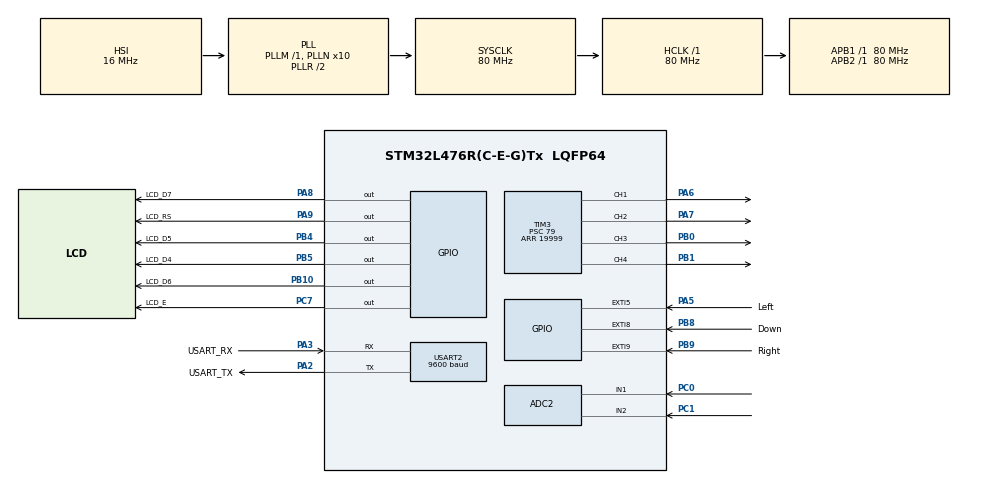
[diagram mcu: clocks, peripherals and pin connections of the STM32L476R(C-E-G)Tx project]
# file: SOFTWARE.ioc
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ADC2.Channel-2\#ChannelRegularConversion=ADC_CHANNEL_1
ADC2.Channel-3\#ChannelRegularConversion=ADC_CHANNEL_2
ADC2.DMAContinuousRequests=ENABLE
ADC2.EOCSelection=ADC_EOC_SEQ_CONV
ADC2.NbrOfConversion=2
ADC2.NbrOfConversionFlag=1
ADC2.OffsetNumber-2\#ChannelRegularConversion=ADC_OFFSET_NONE
ADC2.OffsetNumber-3\#ChannelRegularConversion=ADC_OFFSET_NONE
ADC2.Rank-2\#ChannelRegularConversion=1
ADC2.Rank-3\#ChannelRegularConversion=2
ADC2.SamplingTime-2\#ChannelRegularConversion=ADC_SAMPLETIME_2CYCLES_5
ADC2.SamplingTime-3\#ChannelRegularConversion=ADC_SAMPLETIME_2CYCLES_5
ARM.CMSIS.5.7.0.CMSISJjCORE=true
ARM.CMSIS.5.7.0.CMSISJjDSP=Library
Dma.ADC2.0.Direction=DMA_PERIPH_TO_MEMORY
Dma.ADC2.0.Instance=DMA1_Channel2
Dma.ADC2.0.MemDataAlignment=DMA_MDATAALIGN_HALFWORD
Dma.ADC2.0.MemInc=DMA_MINC_ENABLE
Dma.ADC2.0.Mode=DMA_CIRCULAR
Dma.ADC2.0.PeriphDataAlignment=DMA_PDATAALIGN_HALFWORD
Dma.ADC2.0.PeriphInc=DMA_PINC_DISABLE
Dma.ADC2.0.Priority=DMA_PRIORITY_LOW
Dma.Request0=ADC2
Mcu.Family=STM32L4
Mcu.Name=STM32L476R(C-E-G)Tx
Mcu.Package=LQFP64
NVIC.DMA1_Channel2_IRQn=true\:0\:0\:false\:false\:true\:false\:true
NVIC.EXTI9_5_IRQn=true\:0\:0\:false\:false\:true\:true\:true
NVIC.PriorityGroup=NVIC_PRIORITYGROUP_4
NVIC.TIM2_IRQn=true\:0\:0\:false\:false\:true\:true\:true
NVIC.USART2_IRQn=true\:0\:0\:false\:false\:true\:true\:true
PA13\ (JTMS-SWDIO).GPIO_Label=TMS
PA13\ (JTMS-SWDIO).Mode=Serial_Wire
PA13\ (JTMS-SWDIO).Signal=SYS_JTMS-SWDIO
PA14\ (JTCK-SWCLK).GPIO_Label=TCK
PA14\ (JTCK-SWCLK).Mode=Serial_Wire
PA14\ (JTCK-SWCLK).Signal=SYS_JTCK-SWCLK
PA2.GPIO_Label=USART_TX
PA2.GPIO_Mode=GPIO_MODE_AF_PP
PA2.GPIO_PuPd=GPIO_NOPULL
PA2.GPIO_Speed=GPIO_SPEED_FREQ_VERY_HIGH
PA2.Mode=Asynchronous
PA2.Signal=USART2_TX
PA3.GPIO_Label=USART_RX
PA3.GPIO_Mode=GPIO_MODE_AF_PP
PA3.GPIO_PuPd=GPIO_NOPULL
PA3.GPIO_Speed=GPIO_SPEED_FREQ_VERY_HIGH
PA3.Mode=Asynchronous
PA3.Signal=USART2_RX
PA5.GPIO_Label=Left
PA5.Signal=GPXTI5
PA6.Signal=S_TIM3_CH1
PA7.Signal=S_TIM3_CH2
PA8.GPIO_Label=LCD_D7
PA8.Signal=GPIO_Output
PA9.GPIO_Label=LCD_RS
PA9.Signal=GPIO_Output
PB0.Signal=S_TIM3_CH3
PB1.Signal=S_TIM3_CH4
PB10.GPIO_Label=LCD_D6
PB10.Signal=GPIO_Output
PB3\ (JTDO-TRACESWO).GPIO_Label=SWO
PB3\ (JTDO-TRACESWO).Signal=SYS_JTDO-SWO
PB4\ (NJTRST).GPIO_Label=LCD_D5
PB4\ (NJTRST).Signal=GPIO_Output
PB5.GPIO_Label=LCD_D4
PB5.Signal=GPIO_Output
PB8.GPIO_Label=Down
PB8.GPIO_ModeDefaultEXTI=GPIO_MODE_IT_RISING
PB8.GPIO_PuPd=GPIO_PULLDOWN
PB8.Signal=GPXTI8
PB9.GPIO_Label=Right
PB9.GPIO_PuPd=GPIO_PULLDOWN
PB9.Signal=GPXTI9
PC0.Signal=ADCx_IN1
PC1.Signal=ADCx_IN2
PC14-OSC32_IN\ (PC14).Mode=LSE-External-Oscillator
PC14-OSC32_IN\ (PC14).Signal=RCC_OSC32_IN
PC15-OSC32_OUT\ (PC15).Mode=LSE-External-Oscillator
PC15-OSC32_OUT\ (PC15).Signal=RCC_OSC32_OUT
PC7.GPIO_Label=LCD_E
PC7.Signal=GPIO_Output
PH0-OSC_IN\ (PH0).Signal=RCC_OSC_IN
PH1-OSC_OUT\ (PH1).Signal=RCC_OSC_OUT
ProjectManager.HeapSize=0x200
ProjectManager.StackSize=0x400
ProjectManager.TargetToolchain=STM32CubeIDE
RCC.ADCFreq_Value=64000000
RCC.AHBFreq_Value=80000000
RCC.APB1Freq_Value=80000000
RCC.APB1TimFreq_Value=80000000
RCC.APB2Freq_Value=80000000
RCC.APB2TimFreq_Value=80000000
RCC.CortexFreq_Value=80000000
RCC.HCLKFreq_Value=80000000
RCC.HSE_VALUE=8000000
RCC.HSI_VALUE=16000000
RCC.MSI_VALUE=4000000
RCC.PLLN=10
RCC.PLLSourceVirtual=RCC_PLLSOURCE_HSI
RCC.PREFETCH_ENABLE=1
RCC.SYSCLKFreq_VALUE=80000000
RCC.SYSCLKSource=RCC_SYSCLKSOURCE_PLLCLK
RCC.USBFreq_Value=64000000
RCC.VCOOutputFreq_Value=160000000
SH.ADCx_IN1.0=ADC2_IN1,IN1-Single-Ended
SH.ADCx_IN2.0=ADC2_IN2,IN2-Single-Ended
SH.S_TIM3_CH1.0=TIM3_CH1,PWM Generation1 CH1
SH.S_TIM3_CH2.0=TIM3_CH2,PWM Generation2 CH2
SH.S_TIM3_CH3.0=TIM3_CH3,PWM Generation3 CH3
SH.S_TIM3_CH4.0=TIM3_CH4,PWM Generation4 CH4
TIM2.Period=99999
TIM2.Prescaler=79
TIM3.Channel-PWM\ Generation1\ CH1=TIM_CHANNEL_1
TIM3.Channel-PWM\ Generation2\ CH2=TIM_CHANNEL_2
TIM3.Channel-PWM\ Generation3\ CH3=TIM_CHANNEL_3
TIM3.Channel-PWM\ Generation4\ CH4=TIM_CHANNEL_4
TIM3.Period=19999
TIM3.Prescaler=79
TIM3.Pulse-PWM\ Generation1\ CH1=0
TIM3.Pulse-PWM\ Generation2\ CH2=1400
TIM3.Pulse-PWM\ Generation3\ CH3=19000
TIM3.Pulse-PWM\ Generation4\ CH4=0
USART2.BaudRate=9600
USART2.VirtualMode-Asynchronous=VM_ASYNC
VP_ARM.CMSIS_VS_CMSISJjCORE_5.4.0_5.7.0.Mode=CMSISJjCORE
VP_ARM.CMSIS_VS_CMSISJjDSP_1.8.0_5.7.0.Mode=CMSISJjDSP
VP_TIM2_VS_ClockSourceINT.Mode=Internal
VP_TIM3_VS_ClockSourceINT.Mode=Internal
board=NUCLEO-L476RG

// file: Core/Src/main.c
/* USER CODE BEGIN Header */
/**
 ******************************************************************************
 * @file           : main.c
 * @brief          : Main program body
 ******************************************************************************
 * @attention
 *
 * <h2><center>&copy; Copyright (c) 2022 STMicroelectronics.
 * All rights reserved.</center></h2>
 *
 * This software component is licensed by ST under BSD 3-Clause license,
 * the "License"; You may not use this file except in compliance with the
 * License. You may obtain a copy of the License at:
 *                        opensource.org/licenses/BSD-3-Clause
 *
 ******************************************************************************
 */
/* USER CODE END Header */
#include "main.h"
#include "adc.h"
#include "dma.h"
#include "tim.h"
#include "usart.h"
#include "gpio.h"

/* USER CODE BEGIN Includes */
#include "stdint.h"
#include <stdio.h>
#include "stdlib.h"
#include "lcd.h"
#include "lcd_config.h"
#include "menu.h"
#include "Regulator.h"
/* USER CODE END Includes */

/* USER CODE BEGIN PV */
volatile uint16_t AdcCon[2];
int e = 0;
int u = 0;
uint16_t LCDADCconv;
arm_pid_instance_f32 PID;
uint8_t UartMsg[9];
/* USER CODE END PV */

void SystemClock_Config(void);

int main(void)
{

  /* MCU Configuration--------------------------------------------------------*/

  /* Reset of all peripherals, Initializes the Flash interface and the Systick. */
  HAL_Init();

  /* Configure the system clock */
  SystemClock_Config();

  /* Initialize all configured peripherals */
  MX_GPIO_Init();
  MX_USART2_UART_Init();
  MX_TIM2_Init();
  MX_DMA_Init();
  MX_TIM3_Init();
  MX_ADC2_Init();
  /* USER CODE BEGIN 2 */
	HAL_TIM_Base_Start_IT(&htim2);
	HAL_UART_Receive_IT(&huart2, (uint8_t*) UartMsg, strlen("LED1=100"));
	HAL_TIM_PWM_Start(&htim3, TIM_CHANNEL_1);
	HAL_TIM_PWM_Start(&htim3, TIM_CHANNEL_2);
	HAL_TIM_PWM_Start(&htim3, TIM_CHANNEL_3);
	HAL_TIM_PWM_Start(&htim3, TIM_CHANNEL_4);
	LCD_Init(&hlcd1);
	PID_init(&PID);
  /* USER CODE END 2 */

  /* Infinite loop */
  /* USER CODE BEGIN WHILE */
	while (1) {
		menuDispRoutine();
		HAL_Delay(500);
    /* USER CODE END WHILE */

	}
}

void SystemClock_Config(void)
{
  RCC_OscInitTypeDef RCC_OscInitStruct = {0};
  RCC_ClkInitTypeDef RCC_ClkInitStruct = {0};

  /** Configure the main internal regulator output voltage
  */
  if (HAL_PWREx_ControlVoltageScaling(PWR_REGULATOR_VOLTAGE_SCALE1) != HAL_OK)
  {
    Error_Handler();
  }
  /** Initializes the RCC Oscillators according to the specified parameters
  * in the RCC_OscInitTypeDef structure.
  */
  RCC_OscInitStruct.OscillatorType = RCC_OSCILLATORTYPE_HSI;
  RCC_OscInitStruct.HSIState = RCC_HSI_ON;
  RCC_OscInitStruct.HSICalibrationValue = RCC_HSICALIBRATION_DEFAULT;
  RCC_OscInitStruct.PLL.PLLState = RCC_PLL_ON;
  RCC_OscInitStruct.PLL.PLLSource = RCC_PLLSOURCE_HSI;
  RCC_OscInitStruct.PLL.PLLM = 1;
  RCC_OscInitStruct.PLL.PLLN = 10;
  RCC_OscInitStruct.PLL.PLLP = RCC_PLLP_DIV7;
  RCC_OscInitStruct.PLL.PLLQ = RCC_PLLQ_DIV2;
  RCC_OscInitStruct.PLL.PLLR = RCC_PLLR_DIV2;
  if (HAL_RCC_OscConfig(&RCC_OscInitStruct) != HAL_OK)
  {
    Error_Handler();
  }
  /** Initializes the CPU, AHB and APB buses clocks
  */
  RCC_ClkInitStruct.ClockType = RCC_CLOCKTYPE_HCLK|RCC_CLOCKTYPE_SYSCLK
                              |RCC_CLOCKTYPE_PCLK1|RCC_CLOCKTYPE_PCLK2;
  RCC_ClkInitStruct.SYSCLKSource = RCC_SYSCLKSOURCE_PLLCLK;
  RCC_ClkInitStruct.AHBCLKDivider = RCC_SYSCLK_DIV1;
  RCC_ClkInitStruct.APB1CLKDivider = RCC_HCLK_DIV1;
  RCC_ClkInitStruct.APB2CLKDivider = RCC_HCLK_DIV1;

  if (HAL_RCC_ClockConfig(&RCC_ClkInitStruct, FLASH_LATENCY_4) != HAL_OK)
  {
    Error_Handler();
  }
}

/* USER CODE BEGIN 4 */
void HAL_TIM_PeriodElapsedCallback(TIM_HandleTypeDef *htim) {
	if (htim->Instance == TIM2) {
		HAL_ADC_Start_DMA(&hadc2, (uint32_t*) AdcCon, 2);
		char buffer[50];
		e = AdcCon[1] - AdcCon[0];
		u = Regulation(&PID, e);
		int n = sprintf(buffer, "ADC %d, %d\n", e, u);
		HAL_UART_Transmit(&huart2, (uint8_t*) buffer, n, 10);
		__HAL_TIM_SET_COMPARE(&htim3, TIM_CHANNEL_2, u);
	}
}
void HAL_UART_RxCpltCallback(UART_HandleTypeDef *huart) {
	HAL_UART_Receive_IT(&huart2, (uint8_t*) UartMsg, strlen("LED1=100"));
	int LEDnr;
	char LEDduty[3];
	sscanf((char*) UartMsg, "LED%d=%s", &LEDnr, LEDduty);
	int Pulse = atoi(LEDduty) * 20000.0f / 100.0f;
	switch (LEDnr) {
	case 1:
		__HAL_TIM_SET_COMPARE(&htim3, TIM_CHANNEL_1, Pulse);
		break;
	case 2:
		__HAL_TIM_SET_COMPARE(&htim3, TIM_CHANNEL_3, Pulse);
		break;
	case 3:
		__HAL_TIM_SET_COMPARE(&htim3, TIM_CHANNEL_4, Pulse);
		break;
	}

}
void HAL_GPIO_EXTI_Callback(uint16_t GPIO_Pin) {
	menubuttons(GPIO_Pin);
}

/* USER CODE END 4 */

void Error_Handler(void)
{
	__disable_irq();
	while (1) {
	}
}

/************************ (C) COPYRIGHT STMicroelectronics *****END OF FILE****/
